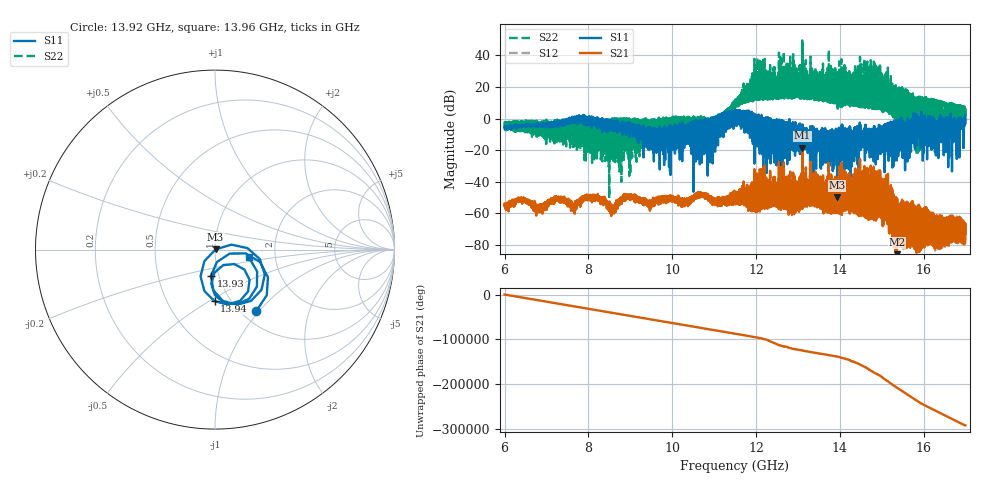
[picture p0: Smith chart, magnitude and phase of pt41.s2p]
#  HZ  S  RI  R  50.00
! Rohde & Schwarz Vector Network Analyzer
! Rohde-Schwarz,ZNA67-2Port,1332450062101215,3.01
! Created: UTC 10/15/2026, 4:31:41 PM
! freq[Hz]  re:S11  im:S11  re:S21  im:S21  re:S12  im:S12  re:S22  im:S22
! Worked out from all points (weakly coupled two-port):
!   11001 points, 6 GHz to 17 GHz, reference 50 ohm
!   highest |S21| = -18.38 dB at 13.1 GHz (marker M1); lowest = -88.7 dB at 15.37 GHz (marker M2)
!   lowest |S11| = -49.8 dB at 13.94 GHz (marker M3), VSWR 1.01, Z = 50.3 + j0.101 ohm
!   |S11| at or under -10 dB: 13.47956 GHz to 13.51909 GHz (39.53 MHz wide, 0.293 % of centre); 13.59815 GHz to 13.6468 GHz (48.65 MHz wide, 0.357 % of centre); 13.77208 GHz to 13.8028 GHz (30.72 MHz wide, 0.223 % of centre) (the widest 3 of 529)
!   |S22| runs from -50.4 to 49.3 dB; largest |S21 - S12| = 0.0058
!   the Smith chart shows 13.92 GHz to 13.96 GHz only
!   S11 on the Smith chart (normalised r, x): 13.92 GHz: 1.17, -0.96; 13.93 GHz: 0.92, -0.27; 13.94 GHz: 0.84, -0.53; 13.96 GHz: 1.46, -0.13
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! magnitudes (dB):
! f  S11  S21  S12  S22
! 6 GHz  -5.1  -54.7  -54.7  -6.2
! 7.834 GHz  -0.5  -50.9  -50.8  -4.6
! 8.213 GHz  -1.5  -48.7  -48.6  -4.2
! 8.569 GHz  -2.3  -58.2  -58.1  -4.5
! 8.904 GHz  -3.5  -49.6  -49.6  -13.8
! 9.667 GHz  -12.8  -52.3  -52.4  -2.7
! 10.68 GHz  -5.7  -48.6  -48.6  1.4
! 11.03 GHz  -2.6  -52.7  -52.7  0.6
! 11.5 GHz  5.4  -50.3  -50.3  8.6
! 12.13 GHz  1.8  -53.2  -53.1  15.2
! 13.1 GHz  -6.7  -18.4  -18.2  49.3
! 13.33 GHz  -9.2  -50.8  -50.8  15.9
! 13.92 GHz  -7.7  -54.1  -53.9  13.2
! 13.93 GHz  -16.7  -41.1  -41.4  28.2
! 13.94 GHz  -49.8  -57.3  -57.1  11.2
! 13.94 GHz  -10.8  -57.7  -57.7  10.2
! 13.96 GHz  -14.2  -42.6  -42.1  23.4
! 15.17 GHz  -9.3  -65.5  -65.4  5.2
! 15.37 GHz  -9.8  -88.7  -89.1  -0.3
! 15.8 GHz  -5.8  -58.0  -58.6  10.7
! 16.57 GHz  -0.5  -79.1  -78.5  -4.2
! 17 GHz  2.1  -72.9  -73.1  2.0
